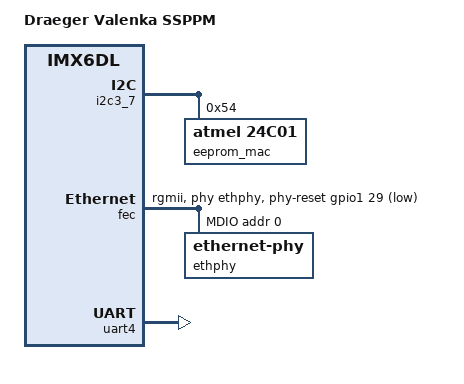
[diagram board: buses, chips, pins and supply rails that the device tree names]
/*
 *  (C) Copyright 2020 Draeger and Licensors, info@draeger.com
 *
 *  SPDX-License-Identifier: GPL-2.0+
 *  Device Tree file for Drager Valenka Mount Board
 */

/dts-v1/;

#include "imx6q.dtsi"
/* PAD config disabled in imx6qdl-draeger-m48.dtsi by setting value to 0x80000000
 * PAD configuration register must not be 0, so it is set to 0xfff
 */
#define MX6QDL_PAD_CTL_GRP_DDR_TYPE_RGMII        0x790 0xfff 0x000 0x000C0000 0x0
#define MX6QDL_PAD_CTL_GRP_RGMII_TERM            0x7ac 0xfff 0x000 0x00000000 0x0

#include "imx6qdl-draeger-valenka.dtsi"

/ {
	model = "Draeger Valenka SSPPM";
	compatible = "draeger,m48/q", "fsl,imx6dl";

	aliases {
		ethphy = &ethphy;
		eeprom_mac = &eeprom_mac;
	};
	
	config {
		rotate_screen;
	};
};

&i2c3_mux {
	i2c3_7: i2c@7 {
		#address-cells = <1>;
		#size-cells = <0>;
		reg = <7>;

		eeprom_mac: eeprom@54 {
			compatible = "atmel,24c01";
			reg = <0x54>;
			pagesize = <16>;
		};
	};
};

&fec {
	pinctrl-names = "default";
	pinctrl-0 = <&pinctrl_valenka_enet &pinctrl_valenka_enet_gpio>;
	phy-mode = "rgmii";
	phy-handle = <&ethphy>;
	phy-reset-gpios = <&gpio1 29 1>;
	phy-reset-duration = <10>;
	phy-reset-post-delay = <100>;
	enable-optics-gpios = <&gpio5 6 0>;
	status = "okay";

	mdio {
		#address-cells = <1>;
		#size-cells = <0>;

		ethphy: ethernet-phy@0 {
			reg = <0>;
			status = "okay";
		};
	};
};

&uart4 {
    pinctrl-names = "default";
    pinctrl-0 = <&pinctrl_valenka_uart4>;
    status = "okay";
};
